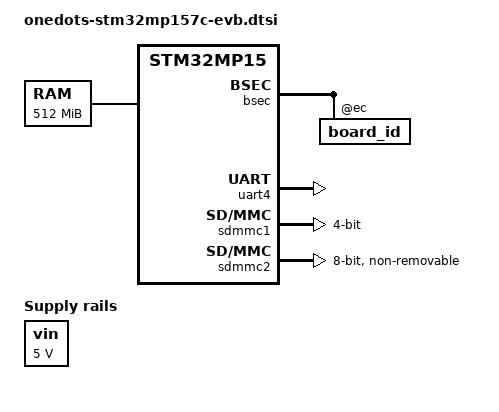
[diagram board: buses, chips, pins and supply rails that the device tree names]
// SPDX-License-Identifier: (GPL-2.0+ OR BSD-3-Clause)
/*
 * Copyright (c) 2019-2023, STMicroelectronics - All Rights Reserved
 * Author: Alexandre Torgue <alexandre.torgue@st.com> for STMicroelectronics.
 */

#include <dt-bindings/clock/stm32mp1-clksrc.h>
#include <dt-bindings/power/stm32mp1-power.h>
#include "onedots_stm32mp15-ddr3-2x2Gb-1066-binG.dtsi"

/ {
	aliases {
		serial0 = &uart4;
		serial1 = &usart3;
		serial2 = &uart7;
	};

	memory@c0000000 {
		device_type = "memory";
		reg = <0xc0000000 0x20000000>;
	};

	vin: vin {
		compatible = "regulator-fixed";
		regulator-name = "vin";
		regulator-min-microvolt = <5000000>;
		regulator-max-microvolt = <5000000>;
		regulator-always-on;
	};
};

&clk_hse {
	st,digbypass;
};

&rcc {
	compatible = "st,stm32mp1-rcc-secure", "st,stm32mp1-rcc", "syscon";
	st,clksrc = <
		CLK_MPU_PLL1P
		CLK_AXI_PLL2P
		CLK_MCU_PLL3P
		CLK_CKPER_HSE
		CLK_SDMMC12_PLL4P
		CLK_STGEN_HSE
		CLK_I2C46_HSI
		CLK_UART24_HSI
		CLK_USBPHY_HSE
		CLK_USBO_USBPHY
	>;

	st,clkdiv = <
		DIV(DIV_MPU, 1)
		DIV(DIV_AXI, 0)
		DIV(DIV_MCU, 0)
		DIV(DIV_APB1, 1)
		DIV(DIV_APB2, 1)
		DIV(DIV_APB3, 1)
		DIV(DIV_APB4, 1)
		DIV(DIV_APB5, 2)
	>;

	st,pll_vco {
		pll2_vco_1066Mhz: pll2-vco-1066Mhz {
			src = <CLK_PLL12_HSE>;
			divmn = <2 65>;
			frac = <0x1400>;
		};

		pll3_vco_417Mhz: pll3-vco-417Mhz {
			src = <CLK_PLL3_HSE>;
			divmn = <1 33>;
			frac = <0x1a04>;
		};

		pll4_vco_750Mhz: pll4-vco-750Mhz {
			src = <CLK_PLL4_HSE>;
			divmn = <3 124>;
		};
	};

	/* VCO = 1066.0 MHz => P = 266 (AXI), Q = 533 (GPU), R = 533 (DDR) */
	pll2: st,pll@1 {
		compatible = "st,stm32mp1-pll";
		reg = <1>;
		st,pll = <&pll2_cfg1>;
		pll2_cfg1: pll2_cfg1 {
			st,pll_vco = <&pll2_vco_1066Mhz>;
			st,pll_div_pqr = <1 0 0>;
		};
	};

	/* VCO = 417.8 MHz => P = 209, Q = 24, R = 11 */
	pll3: st,pll@2 {
		compatible = "st,stm32mp1-pll";
		reg = <2>;
		st,pll = <&pll3_cfg1>;
		pll3_cfg1: pll3_cfg1 {
			st,pll_vco = <&pll3_vco_417Mhz>;
			st,pll_div_pqr = <1 16 36>;
		};
	};

	/* VCO = 750.0 MHz => P = 125, Q = 62.5, R = 62.5 */
	pll4: st,pll@3 {
		compatible = "st,stm32mp1-pll";
		reg = <3>;
		st,pll = <&pll4_cfg1>;
		pll4_cfg1: pll4_cfg1 {
			st,pll_vco = <&pll4_vco_750Mhz>;
			st,pll_div_pqr = <5 11 11>;
		};
	};
};

&bsec {
	board_id: board_id@ec {
		reg = <0xec 0x4>;
		st,non-secure-otp;
	};
};

&uart4 {
     pinctrl-names = "default";
     pinctrl-0 = <&uart4_pins_a>;
     status = "okay";
};

&sdmmc1 {
	pinctrl-names = "default";
	pinctrl-0 = <&sdmmc1_b4_pins_a>;
	disable-wp;
	st,neg-edge;
	bus-width = <4>;
	// vmmc-supply = <&v3v3>;
	status = "okay";
};
&sdmmc2 {
        pinctrl-names = "default";
        pinctrl-0 = <&sdmmc2_b4_pins_a &sdmmc2_d47_pins_a>;
        non-removable;
        no-sd;
        no-sdio;
        st,neg-edge;
        bus-width = <8>;
       // vmmc-supply = <&v3v3>;
        // vqmmc-supply = <&v3v3>;
        mmc-ddr-3_3v;
        status = "okay";
};
